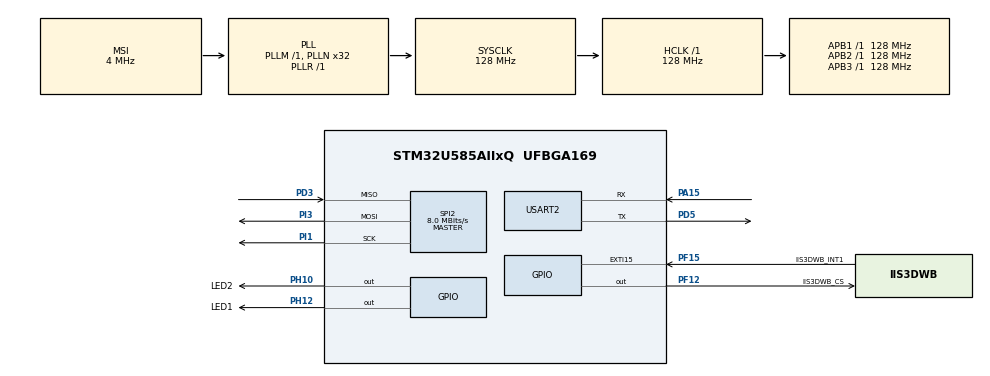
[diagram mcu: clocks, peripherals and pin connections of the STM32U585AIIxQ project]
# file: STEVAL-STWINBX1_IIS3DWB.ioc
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CORTEX_M33_NS.userName=CORTEX_M33
Mcu.Family=STM32U5
Mcu.Name=STM32U585AIIxQ
Mcu.Package=UFBGA169
NVIC.EXTI15_IRQn=true\:0\:0\:false\:false\:true\:true\:true\:true
NVIC.PriorityGroup=NVIC_PRIORITYGROUP_4
PA15\ (JTDI).Mode=Asynchronous
PA15\ (JTDI).Signal=USART2_RX
PD3.GPIO_Speed=GPIO_SPEED_FREQ_VERY_HIGH
PD3.Mode=Full_Duplex_Master
PD3.Signal=SPI2_MISO
PD5.Mode=Asynchronous
PD5.Signal=USART2_TX
PF12.GPIO_Label=IIS3DWB_CS
PF12.GPIO_Speed=GPIO_SPEED_FREQ_VERY_HIGH
PF12.Signal=GPIO_Output
PF15.GPIO_Label=IIS3DWB_INT1
PF15.Signal=GPXTI15
PH10.GPIO_Label=LED2
PH10.Signal=GPIO_Output
PH12.GPIO_Label=LED1
PH12.Signal=GPIO_Output
PI1.GPIO_Speed=GPIO_SPEED_FREQ_VERY_HIGH
PI1.Mode=Full_Duplex_Master
PI1.Signal=SPI2_SCK
PI3.GPIO_Speed=GPIO_SPEED_FREQ_VERY_HIGH
PI3.Mode=Full_Duplex_Master
PI3.Signal=SPI2_MOSI
ProjectManager.HeapSize=0x200
ProjectManager.StackSize=0x400
ProjectManager.TargetToolchain=STM32CubeIDE
RCC.ADCCLockSelection=RCC_ADCDACCLKSOURCE_PLL2
RCC.ADCFreq_Value=3840000
RCC.AHBFreq_Value=128000000
RCC.APB1Freq_Value=128000000
RCC.APB1TimFreq_Value=128000000
RCC.APB2Freq_Value=128000000
RCC.APB2TimFreq_Value=128000000
RCC.APB3Freq_Value=128000000
RCC.AdfClockSelection=RCC_ADF1CLKSOURCE_PLL3
RCC.CortexFreq_Value=128000000
RCC.DACCLockSelectionVirtual=RCC_DAC1CLKSOURCE_LSI
RCC.DACCLockSelectionVirtualString=RCC_DAC1CLKSOURCE_LSI
RCC.EPOD_VALUE=4000000
RCC.HCLKFreq_Value=128000000
RCC.HSE_VALUE=16000000
RCC.HSI48_VALUE=48000000
RCC.HSI_VALUE=16000000
RCC.LSE_VALUE=32768
RCC.LSIDIV_VALUE=32000
RCC.MSI_VALUE=4000000
RCC.MdfClockSelection=RCC_MDF1CLKSOURCE_PLL3
RCC.PLL1R=1
RCC.PLL2FRACN=0
RCC.PLL2M=2
RCC.PLL2N=48
RCC.PLL2Q=7
RCC.PLL2R=25
RCC.PLL3FRACN=0
RCC.PLL3M=2
RCC.PLL3N=48
RCC.PLL3Q=25
RCC.PLLFRACN=0
RCC.PLLN=32
RCC.SAI1CLockSelection=RCC_SAI1CLKSOURCE_PLL1
RCC.SDMMCClockSelection=RCC_SDMMCCLKSOURCE_CLK48
RCC.SPI2CLockSelection=RCC_SPI2CLKSOURCE_PCLK1
RCC.SPI3CLockSelection=RCC_SPI3CLKSOURCE_HSI
RCC.SYSCLKFreq_VALUE=128000000
RCC.SYSCLKSource=RCC_SYSCLKSOURCE_PLLCLK
RCC.USBFreq_Value=48000000
RCC.VCOOutputFreq_Value=128000000
SPI2.BaudRatePrescaler=SPI_BAUDRATEPRESCALER_16
SPI2.CLKPhase=SPI_PHASE_2EDGE
SPI2.CLKPolarity=SPI_POLARITY_HIGH
SPI2.CalculateBaudRate=8.0 MBits/s
SPI2.DataSize=SPI_DATASIZE_8BIT
SPI2.Direction=SPI_DIRECTION_2LINES
SPI2.MasterKeepIOState=SPI_MASTER_KEEP_IO_STATE_ENABLE
SPI2.Mode=SPI_MODE_MASTER
SPI2.VirtualType=VM_MASTER
USART2.VirtualMode-Asynchronous=VM_ASYNC
VP_LPBAMQUEUE_VS_QUEUE.Mode=QUEUEMODE
VP_LPBAM_VS_SIG1.Mode=SmartRun
VP_LPBAM_VS_SIG4.Mode=LPDMA1
VP_PWR_VS_LPOM.Mode=PowerOptimisation
VP_PWR_VS_SECSignals.Mode=Security/Privilege
board=STEVAL-STWINBX1

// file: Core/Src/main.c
/* USER CODE BEGIN Header */
/**
  ******************************************************************************
  * @file           : main.c
  * @brief          : Main program body
  ******************************************************************************
  * @attention
  *
  * Copyright (c) 2023 STMicroelectronics.
  * All rights reserved.
  *
  * This software is licensed under terms that can be found in the LICENSE file
  * in the root directory of this software component.
  * If no LICENSE file comes with this software, it is provided AS-IS.
  *
  ******************************************************************************
  */
/* USER CODE END Header */
#include "main.h"

/* USER CODE BEGIN Includes */
#include <string.h>
#include <stdio.h>
#include "iis3dwb_reg.h"
#include "cycle_dwt.h"
#include "NanoEdgeAI.h"

/* USER CODE END Includes */

/* USER CODE BEGIN PD */
/************************************************************ NEAI algorithm defines begin ************************************************************/
/************************************************************ Global settings part ************************************************************/
#ifndef AXIS
  #define AXIS                  3                     /* Axis should be defined between 1 and 3 */
#endif
#ifndef SAMPLES
  #define SAMPLES               256                   /* Should be between 8 & 4096 */
#endif
#define FIFO_WATERMARK          256                   /* Definition of the FIFO watermark to the half of FIFO full size */
#define FIFO_FULL_SIZE          512                   /* FIFO full size */
/************************************************************ Sensor type part ************************************************************/
/************************************************************ Sensors configuration part ************************************************************/
#ifndef ACCELEROMETER_ODR
  #define ACCELEROMETER_ODR   IIS3DWB_XL_ODR_26k7Hz   /* Only one ODR is available with this sensor IIS3DWB_XL_ODR_26k7Hz */
#endif
#ifndef ACCELEROMETER_FS
  #define ACCELEROMETER_FS    IIS3DWB_8g              /* Should be between IIS3DWB_2g and IIS3DWB_16g */
#endif
/************************************************************ Datalogger / NEAI mode part ************************************************************/
#ifndef NEAI_MODE
  #define NEAI_MODE             0                     /* 0: Datalogger mode, 1: NEAI functions mode */
#endif
#if (NEAI_MODE == 1)
  #ifndef NEAI_LEARN_NB
    #define NEAI_LEARN_NB       20                    /* Number of buffers to be learn by the NEAI library */
  #endif
#endif
/************************************************************ NEAI algorithm defines end ************************************************************/
/* USER CODE END PD */

SPI_HandleTypeDef hspi2;

UART_HandleTypeDef huart2;

/* USER CODE BEGIN PV */
uint8_t neai_similarity = 0, neai_state = 0;
volatile uint8_t drdy = 0;
uint16_t data_left = (uint16_t) SAMPLES, neai_buffer_ptr = 0, num = 0, neai_cnt = 0;
float neai_time = 0.0;
static float neai_buffer[AXIS * SAMPLES] = {0.0};
static iis3dwb_fifo_out_raw_t fifo_data[FIFO_FULL_SIZE];
stmdev_ctx_t dev_ctx;
iis3dwb_fifo_status_t fifo_status;
iis3dwb_pin_int1_route_t int1_route;

/* USER CODE END PV */

void SystemClock_Config(void);
static void SystemPower_Config(void);
static void MX_GPIO_Init(void);
static void MX_SPI2_Init(void);
static void MX_USART2_UART_Init(void);
/* USER CODE BEGIN PFP */
static int32_t platform_write(void *handle, uint8_t reg, const uint8_t *bufp, uint16_t len);
static int32_t platform_read(void *handle, uint8_t reg, uint8_t *bufp, uint16_t len);
static void iis3dwb_initialize(void);
static void iis3dwb_get_buffer_from_fifo(uint16_t nb);
static float iis3dwb_convert_accel_data_to_mg(int16_t accel_raw_data);

/* USER CODE END PFP */

int main(void)
{
  /* USER CODE BEGIN 1 */
  /* Initialize mems driver interface */
  dev_ctx.write_reg = platform_write;
  dev_ctx.read_reg = platform_read;
  dev_ctx.handle = &hspi2;

  /* USER CODE END 1 */

  /* MCU Configuration--------------------------------------------------------*/

  /* Reset of all peripherals, Initializes the Flash interface and the Systick. */
  HAL_Init();

  /* Configure the system clock */
  SystemClock_Config();

  /* Configure the System Power */
  SystemPower_Config();

  /* Initialize all configured peripherals */
  MX_GPIO_Init();
  MX_SPI2_Init();
  MX_USART2_UART_Init();
  /* USER CODE BEGIN 2 */
  KIN1_InitCycleCounter();
  KIN1_EnableCycleCounter();
  iis3dwb_initialize();
  if (NEAI_MODE) {
    neai_state = neai_anomalydetection_init();
    printf("Initialize NEAI library. NEAI init return: %d.\n",  neai_state);
  }

  /* USER CODE END 2 */

  /* Infinite loop */
  /* USER CODE BEGIN WHILE */
  while (1)
  {
    if (drdy) {
      /* Reset data ready variable */
      drdy = 0;
      /* Read watermark flag */
      iis3dwb_fifo_status_get(&dev_ctx, &fifo_status);
      if (fifo_status.fifo_th) {
        num = fifo_status.fifo_level;
        if (data_left > num) {
          data_left -= num;
        }
        else {
          num = data_left;
          data_left = 0;
        }
        iis3dwb_get_buffer_from_fifo(num);
        if (data_left == 0) {
          /* Stop FIFO mode, set it in BYPASS mode */
          iis3dwb_fifo_mode_set(&dev_ctx, IIS3DWB_BYPASS_MODE);
#if NEAI_MODE
          uint32_t cycles_cnt = 0;
          if (neai_cnt < NEAI_LEARN_NB) {
            neai_cnt++;
            KIN1_ResetCycleCounter();
            neai_state = neai_anomalydetection_learn(neai_buffer);
            cycles_cnt = KIN1_GetCycleCounter();
            neai_time = (cycles_cnt * 1000000.0) / HAL_RCC_GetSysClockFreq();
            printf("Learn: %d / %d. NEAI learn return: %d. Cycles counter: %ld = %.1f µs at %ld Hz.\n",
            neai_cnt, NEAI_LEARN_NB, neai_state, cycles_cnt, neai_time, HAL_RCC_GetSysClockFreq());
          }
          else {
            KIN1_ResetCycleCounter();
            neai_state = neai_anomalydetection_detect(neai_buffer, &neai_similarity);
            cycles_cnt = KIN1_GetCycleCounter();
            neai_time = (cycles_cnt * 1000000.0) / HAL_RCC_GetSysClockFreq();
            if (neai_similarity < 90) {
              HAL_GPIO_WritePin(LED2_GPIO_Port, LED2_Pin, GPIO_PIN_SET);
              HAL_GPIO_WritePin(LED1_GPIO_Port, LED1_Pin, GPIO_PIN_RESET);
            }
            else {
              HAL_GPIO_WritePin(LED2_GPIO_Port, LED2_Pin, GPIO_PIN_RESET);
              HAL_GPIO_WritePin(LED1_GPIO_Port, LED1_Pin, GPIO_PIN_SET);
            }
            printf("Similarity: %d / 100. NEAI detect return: %d. Cycles counter: %ld = %.1f µs at %ld Hz.\n",
            neai_similarity, neai_state, cycles_cnt, neai_time, HAL_RCC_GetSysClockFreq());
          }
#else
          for (uint16_t i = 0; i < AXIS * SAMPLES; i++) {
            printf("%.3f ", neai_buffer[i]);
          }
          printf("\n");
#endif
          data_left = (uint16_t) SAMPLES;
          /* Clear internal FIFO */
          iis3dwb_fifo_out_multi_raw_get(&dev_ctx, fifo_data, FIFO_FULL_SIZE);
          /* Clear neai_buffer */
          memset(neai_buffer, 0x00, AXIS * SAMPLES * sizeof(float));
          /* Enable FIFO continuous mode */
          iis3dwb_fifo_watermark_set(&dev_ctx, FIFO_WATERMARK);
          iis3dwb_fifo_mode_set(&dev_ctx, IIS3DWB_STREAM_MODE);
        }
      }
    }
    /* USER CODE END WHILE */

  }
}

void SystemClock_Config(void)
{
  RCC_OscInitTypeDef RCC_OscInitStruct = {0};
  RCC_ClkInitTypeDef RCC_ClkInitStruct = {0};

  /** Configure the main internal regulator output voltage
  */
  if (HAL_PWREx_ControlVoltageScaling(PWR_REGULATOR_VOLTAGE_SCALE1) != HAL_OK)
  {
    Error_Handler();
  }

  /** Initializes the CPU, AHB and APB buses clocks
  */
  RCC_OscInitStruct.OscillatorType = RCC_OSCILLATORTYPE_MSI;
  RCC_OscInitStruct.MSIState = RCC_MSI_ON;
  RCC_OscInitStruct.MSICalibrationValue = RCC_MSICALIBRATION_DEFAULT;
  RCC_OscInitStruct.MSIClockRange = RCC_MSIRANGE_4;
  RCC_OscInitStruct.PLL.PLLState = RCC_PLL_ON;
  RCC_OscInitStruct.PLL.PLLSource = RCC_PLLSOURCE_MSI;
  RCC_OscInitStruct.PLL.PLLMBOOST = RCC_PLLMBOOST_DIV1;
  RCC_OscInitStruct.PLL.PLLM = 1;
  RCC_OscInitStruct.PLL.PLLN = 32;
  RCC_OscInitStruct.PLL.PLLP = 2;
  RCC_OscInitStruct.PLL.PLLQ = 2;
  RCC_OscInitStruct.PLL.PLLR = 1;
  RCC_OscInitStruct.PLL.PLLRGE = RCC_PLLVCIRANGE_0;
  RCC_OscInitStruct.PLL.PLLFRACN = 0;
  if (HAL_RCC_OscConfig(&RCC_OscInitStruct) != HAL_OK)
  {
    Error_Handler();
  }

  /** Initializes the CPU, AHB and APB buses clocks
  */
  RCC_ClkInitStruct.ClockType = RCC_CLOCKTYPE_HCLK|RCC_CLOCKTYPE_SYSCLK
                              |RCC_CLOCKTYPE_PCLK1|RCC_CLOCKTYPE_PCLK2
                              |RCC_CLOCKTYPE_PCLK3;
  RCC_ClkInitStruct.SYSCLKSource = RCC_SYSCLKSOURCE_PLLCLK;
  RCC_ClkInitStruct.AHBCLKDivider = RCC_SYSCLK_DIV1;
  RCC_ClkInitStruct.APB1CLKDivider = RCC_HCLK_DIV1;
  RCC_ClkInitStruct.APB2CLKDivider = RCC_HCLK_DIV1;
  RCC_ClkInitStruct.APB3CLKDivider = RCC_HCLK_DIV1;

  if (HAL_RCC_ClockConfig(&RCC_ClkInitStruct, FLASH_LATENCY_3) != HAL_OK)
  {
    Error_Handler();
  }
}

/**
  * @brief Power Configuration
  * @retval None
  */
static void SystemPower_Config(void)
{
}

static void MX_SPI2_Init(void)
{

  SPI_AutonomousModeConfTypeDef HAL_SPI_AutonomousMode_Cfg_Struct = {0};

  /* SPI2 parameter configuration*/
  hspi2.Instance = SPI2;
  hspi2.Init.Mode = SPI_MODE_MASTER;
  hspi2.Init.Direction = SPI_DIRECTION_2LINES;
  hspi2.Init.DataSize = SPI_DATASIZE_8BIT;
  hspi2.Init.CLKPolarity = SPI_POLARITY_HIGH;
  hspi2.Init.CLKPhase = SPI_PHASE_2EDGE;
  hspi2.Init.NSS = SPI_NSS_SOFT;
  hspi2.Init.BaudRatePrescaler = SPI_BAUDRATEPRESCALER_16;
  hspi2.Init.FirstBit = SPI_FIRSTBIT_MSB;
  hspi2.Init.TIMode = SPI_TIMODE_DISABLE;
  hspi2.Init.CRCCalculation = SPI_CRCCALCULATION_DISABLE;
  hspi2.Init.CRCPolynomial = 0x7;
  hspi2.Init.NSSPMode = SPI_NSS_PULSE_DISABLE;
  hspi2.Init.NSSPolarity = SPI_NSS_POLARITY_LOW;
  hspi2.Init.FifoThreshold = SPI_FIFO_THRESHOLD_01DATA;
  hspi2.Init.MasterSSIdleness = SPI_MASTER_SS_IDLENESS_00CYCLE;
  hspi2.Init.MasterInterDataIdleness = SPI_MASTER_INTERDATA_IDLENESS_00CYCLE;
  hspi2.Init.MasterReceiverAutoSusp = SPI_MASTER_RX_AUTOSUSP_DISABLE;
  hspi2.Init.MasterKeepIOState = SPI_MASTER_KEEP_IO_STATE_ENABLE;
  hspi2.Init.IOSwap = SPI_IO_SWAP_DISABLE;
  hspi2.Init.ReadyMasterManagement = SPI_RDY_MASTER_MANAGEMENT_INTERNALLY;
  hspi2.Init.ReadyPolarity = SPI_RDY_POLARITY_HIGH;
  if (HAL_SPI_Init(&hspi2) != HAL_OK)
  {
    Error_Handler();
  }
  HAL_SPI_AutonomousMode_Cfg_Struct.TriggerState = SPI_AUTO_MODE_DISABLE;
  HAL_SPI_AutonomousMode_Cfg_Struct.TriggerSelection = SPI_GRP1_GPDMA_CH0_TCF_TRG;
  HAL_SPI_AutonomousMode_Cfg_Struct.TriggerPolarity = SPI_TRIG_POLARITY_RISING;
  if (HAL_SPIEx_SetConfigAutonomousMode(&hspi2, &HAL_SPI_AutonomousMode_Cfg_Struct) != HAL_OK)
  {
    Error_Handler();
  }

}

static void MX_USART2_UART_Init(void)
{

  huart2.Instance = USART2;
  huart2.Init.BaudRate = 115200;
  huart2.Init.WordLength = UART_WORDLENGTH_8B;
  huart2.Init.StopBits = UART_STOPBITS_1;
  huart2.Init.Parity = UART_PARITY_NONE;
  huart2.Init.Mode = UART_MODE_TX_RX;
  huart2.Init.HwFlowCtl = UART_HWCONTROL_NONE;
  huart2.Init.OverSampling = UART_OVERSAMPLING_16;
  huart2.Init.OneBitSampling = UART_ONE_BIT_SAMPLE_DISABLE;
  huart2.Init.ClockPrescaler = UART_PRESCALER_DIV1;
  huart2.AdvancedInit.AdvFeatureInit = UART_ADVFEATURE_NO_INIT;
  if (HAL_UART_Init(&huart2) != HAL_OK)
  {
    Error_Handler();
  }
  if (HAL_UARTEx_SetTxFifoThreshold(&huart2, UART_TXFIFO_THRESHOLD_1_8) != HAL_OK)
  {
    Error_Handler();
  }
  if (HAL_UARTEx_SetRxFifoThreshold(&huart2, UART_RXFIFO_THRESHOLD_1_8) != HAL_OK)
  {
    Error_Handler();
  }
  if (HAL_UARTEx_DisableFifoMode(&huart2) != HAL_OK)
  {
    Error_Handler();
  }

}

static void MX_GPIO_Init(void)
{
  GPIO_InitTypeDef GPIO_InitStruct = {0};

  /* GPIO Ports Clock Enable */
  __HAL_RCC_GPIOA_CLK_ENABLE();
  __HAL_RCC_GPIOI_CLK_ENABLE();
  __HAL_RCC_GPIOH_CLK_ENABLE();
  __HAL_RCC_GPIOD_CLK_ENABLE();
  __HAL_RCC_GPIOF_CLK_ENABLE();

  /*Configure GPIO pin Output Level */
  HAL_GPIO_WritePin(GPIOH, LED1_Pin|LED2_Pin, GPIO_PIN_RESET);

  /*Configure GPIO pin Output Level */
  HAL_GPIO_WritePin(IIS3DWB_CS_GPIO_Port, IIS3DWB_CS_Pin, GPIO_PIN_RESET);

  /*Configure GPIO pins : LED1_Pin LED2_Pin */
  GPIO_InitStruct.Pin = LED1_Pin|LED2_Pin;
  GPIO_InitStruct.Mode = GPIO_MODE_OUTPUT_PP;
  GPIO_InitStruct.Pull = GPIO_NOPULL;
  GPIO_InitStruct.Speed = GPIO_SPEED_FREQ_LOW;
  HAL_GPIO_Init(GPIOH, &GPIO_InitStruct);

  /*Configure GPIO pin : IIS3DWB_CS_Pin */
  GPIO_InitStruct.Pin = IIS3DWB_CS_Pin;
  GPIO_InitStruct.Mode = GPIO_MODE_OUTPUT_PP;
  GPIO_InitStruct.Pull = GPIO_NOPULL;
  GPIO_InitStruct.Speed = GPIO_SPEED_FREQ_VERY_HIGH;
  HAL_GPIO_Init(IIS3DWB_CS_GPIO_Port, &GPIO_InitStruct);

  /*Configure GPIO pin : IIS3DWB_INT1_Pin */
  GPIO_InitStruct.Pin = IIS3DWB_INT1_Pin;
  GPIO_InitStruct.Mode = GPIO_MODE_IT_RISING;
  GPIO_InitStruct.Pull = GPIO_NOPULL;
  HAL_GPIO_Init(IIS3DWB_INT1_GPIO_Port, &GPIO_InitStruct);

  /* EXTI interrupt init*/
  HAL_NVIC_SetPriority(EXTI15_IRQn, 0, 0);
  HAL_NVIC_EnableIRQ(EXTI15_IRQn);

}

/* USER CODE BEGIN 4 */
/**
  * @brief  Redirecting stdout to USART1 which is connected on the STLINK port
  * @retval
  * @param
  */
int __io_putchar(int ch)
{
 uint8_t c[1];
 c[0] = ch & 0x00FF;
 HAL_UART_Transmit(&huart2, &*c, 1, 10);
 return ch;
}

/**
  * @brief  EXTI line detection callback.
  * @param  GPIO_Pin Specifies the port pin connected to corresponding EXTI line.
  * @retval None
  */
void HAL_GPIO_EXTI_Rising_Callback(uint16_t GPIO_Pin)
{
  switch(GPIO_Pin) {
  case IIS3DWB_INT1_Pin:
    drdy = 1;
    break;
  }
}

/*
 * @brief  Write generic device register (platform dependent)
 *
 * @param  handle    customizable argument. In this examples is used in
 *                   order to select the correct sensor bus handler.
 * @param  reg       register to write
 * @param  bufp      pointer to data to write in register reg
 * @param  len       number of consecutive register to write
 *
 */
static int32_t platform_write(void *handle, uint8_t reg, const uint8_t *bufp, uint16_t len)
{
  HAL_GPIO_WritePin(IIS3DWB_CS_GPIO_Port, IIS3DWB_CS_Pin, GPIO_PIN_RESET);
  HAL_SPI_Transmit(handle, &reg, 1, 1000);
  HAL_SPI_Transmit(handle, (uint8_t*) bufp, len, 1000);
  HAL_GPIO_WritePin(IIS3DWB_CS_GPIO_Port, IIS3DWB_CS_Pin, GPIO_PIN_SET);
  return 0;
}

/*
 * @brief  Read generic device register (platform dependent)
 *
 * @param  handle    customizable argument. In this examples is used in
 *                   order to select the correct sensor bus handler.
 * @param  reg       register to read
 * @param  bufp      pointer to buffer that store the data read
 * @param  len       number of consecutive register to read
 *
 */
static int32_t platform_read(void *handle, uint8_t reg, uint8_t *bufp, uint16_t len)
{
  reg |= 0x80;
  HAL_GPIO_WritePin(IIS3DWB_CS_GPIO_Port, IIS3DWB_CS_Pin, GPIO_PIN_RESET);
  HAL_SPI_Transmit(handle, &reg, 1, 1000);
  HAL_SPI_Receive(handle, bufp, len, 1000);
  HAL_GPIO_WritePin(IIS3DWB_CS_GPIO_Port, IIS3DWB_CS_Pin, GPIO_PIN_SET);
  return 0;
}

/**
  * @brief  Initialize IIS3DWB.
  * @param  None
  * @retval None
  */
static void iis3dwb_initialize()
{
  uint8_t rst;
  uint8_t whoamI;

  /* Check device ID */
  do {
    /* Wait sensor boot time */
    HAL_Delay(10);
    iis3dwb_device_id_get(&dev_ctx, &whoamI);
  } while (whoamI != IIS3DWB_ID);

  /* Restore default configuration */
  iis3dwb_reset_set(&dev_ctx, PROPERTY_ENABLE);

  do {
    iis3dwb_reset_get(&dev_ctx, &rst);
  } while (rst);

  /* Set full scale */
  iis3dwb_xl_full_scale_set(&dev_ctx, ACCELEROMETER_FS);
  /* Set Output Data Rate */
  iis3dwb_xl_data_rate_set(&dev_ctx, ACCELEROMETER_ODR);

  /*
  * Set FIFO watermark (number of unread sensor data TAG + 6 bytes
  * stored in FIFO) to FIFO_WATERMARK samples
  */
  iis3dwb_fifo_watermark_set(&dev_ctx, FIFO_WATERMARK);

  /* Set FIFO batch XL ODR to 26.7 kHz */
  iis3dwb_fifo_xl_batch_set(&dev_ctx, IIS3DWB_XL_BATCHED_AT_26k7Hz);

  /* Set interrupt on FIFO threshold on INT1 pin */
  int1_route.fifo_th = 1;
  iis3dwb_pin_int1_route_set(&dev_ctx, &int1_route);

  /* Set FIFO mode to Stream mode (aka Continuous Mode) */
  iis3dwb_fifo_mode_set(&dev_ctx, IIS3DWB_STREAM_MODE);
}

/*
 * @brief  Get accelerometer data from IIS3DWB using the internal FIFO buffer
 *
 * @param  No
 *
 * @return No
 *
 */
static void iis3dwb_get_buffer_from_fifo(uint16_t nb)
{
  /* read out all FIFO entries in a single read */
  iis3dwb_fifo_out_multi_raw_get(&dev_ctx, fifo_data, nb);

  for (uint16_t i = 0; i < nb; i++) {
    if (fifo_data[i].tag >> 3 == IIS3DWB_XL_TAG) {
      /* Fill neai_buffer with accelerometer data */
      for(uint8_t j = 0; j < AXIS; j++) {
	neai_buffer[(AXIS * neai_buffer_ptr) + (AXIS * i) + j] = iis3dwb_convert_accel_data_to_mg((int16_t) fifo_data[i].data[(2 * j) + 1] << 8 | fifo_data[i].data[(2 * j)]);
      }
    }
    else {
      /* Bad tag sensor */
      printf("Bad sensor tag: %d.\n", fifo_data[i].tag >> 3);
      Error_Handler();
    }
  }
  neai_buffer_ptr += nb;
  if (neai_buffer_ptr == SAMPLES) {
    neai_buffer_ptr = 0;
  }
}

/*
 * @brief  Convert accelerometer raw data to milli-G' (mg)
 *
 * @param  accel_raw_data: which is accelerometer raw data
 *                        depending on the full scale selected
 *
 * @return The converted value in milli-G' (mg)
 *
 */
static float iis3dwb_convert_accel_data_to_mg(int16_t accel_raw_data)
{
  float accel_data_mg = 0.0;
  switch (ACCELEROMETER_FS)
  {
  case IIS3DWB_2g:
    accel_data_mg = iis3dwb_from_fs2g_to_mg(accel_raw_data);
    break;
  case IIS3DWB_4g:
    accel_data_mg = iis3dwb_from_fs4g_to_mg(accel_raw_data);
    break;
  case IIS3DWB_8g:
    accel_data_mg = iis3dwb_from_fs8g_to_mg(accel_raw_data);
    break;
  case IIS3DWB_16g:
    accel_data_mg = iis3dwb_from_fs16g_to_mg(accel_raw_data);
    break;
  default:
    accel_data_mg = 0.0;
    break;
  }
  return accel_data_mg;
}

/* USER CODE END 4 */

void Error_Handler(void)
{
  /* USER CODE BEGIN Error_Handler_Debug */
  /* User can add his own implementation to report the HAL error return state */
  __disable_irq();
  while (1)
  {
      printf("Error.\n");
      HAL_Delay(1000);
  }
  /* USER CODE END Error_Handler_Debug */
}
